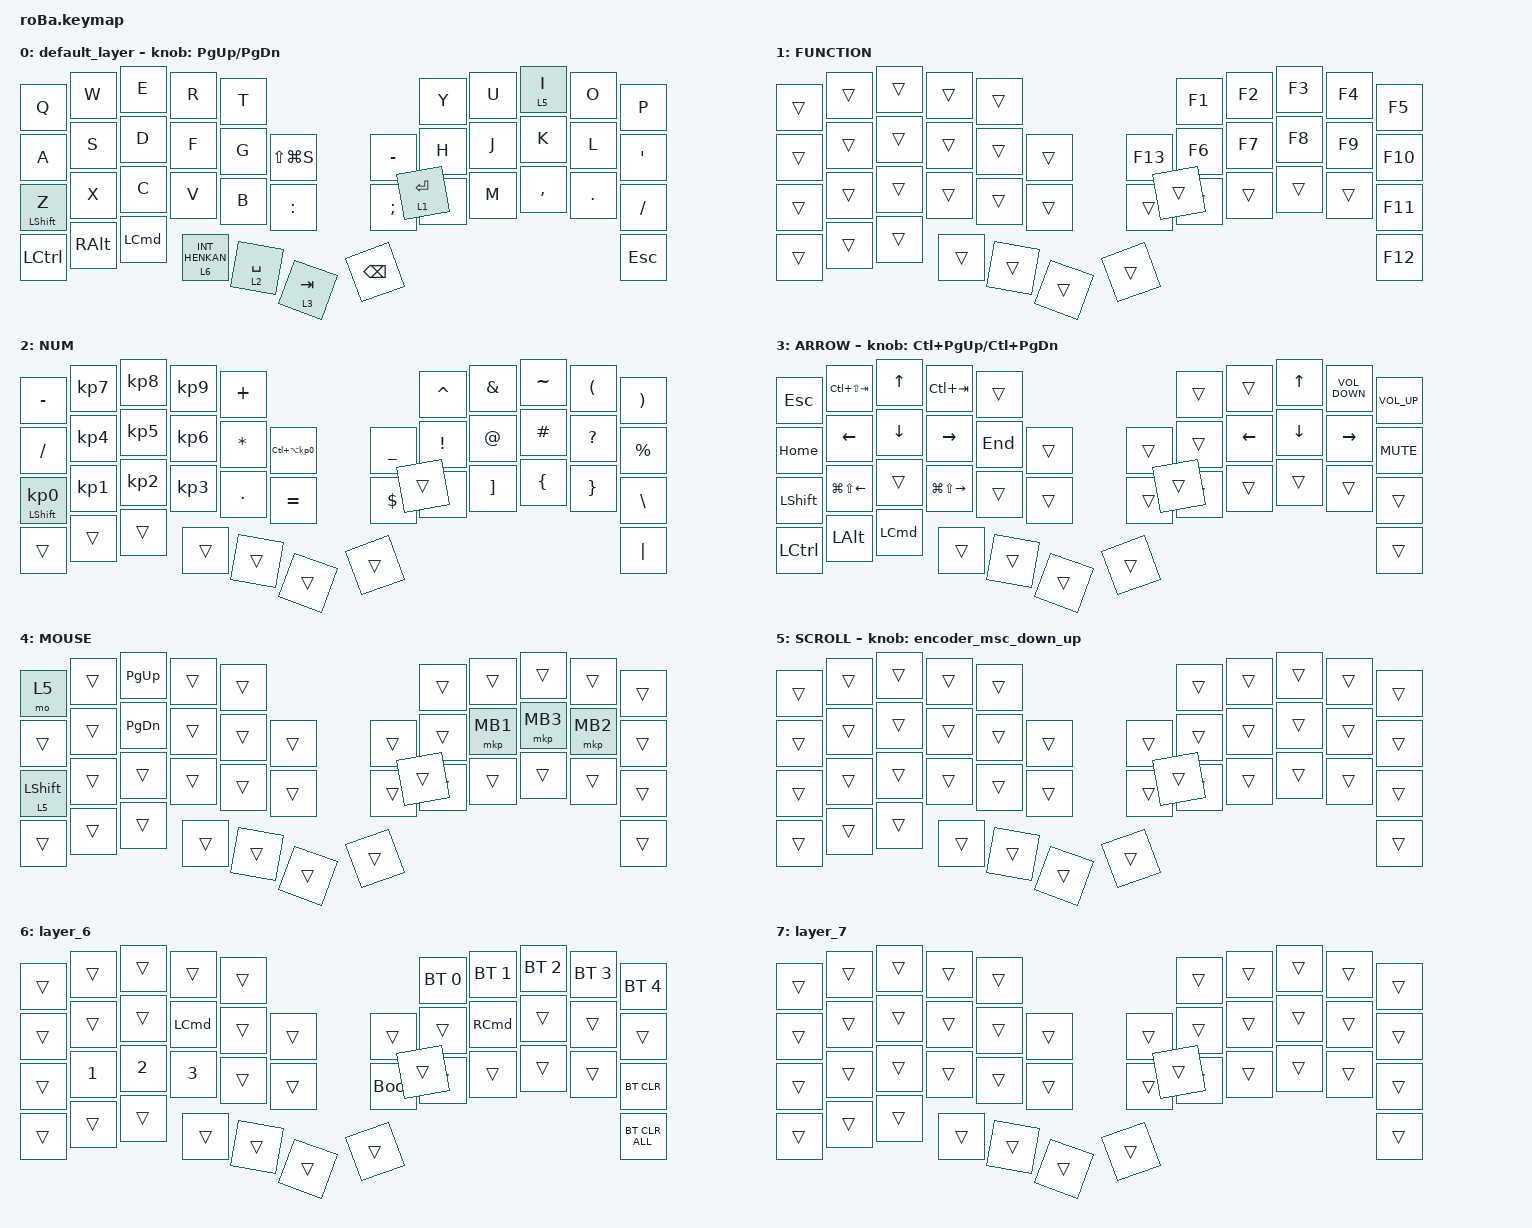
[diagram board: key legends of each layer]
#include <behaviors.dtsi>
#include <dt-bindings/zmk/bt.h>
#include <dt-bindings/zmk/keys.h>
#include <dt-bindings/zmk/pointing.h>

#define ZMK_POINTING_DEFAULT_SCRL_VAL 80

&mt {
    flavor = "balanced";
    quick-tap-ms = <0>;
};

&trackball {
    automouse-layer = <4>;
    scroll-layers = <5>;

    // arrows {
    //     layers = <3>;
    //     bindings =
    //         <&kp RIGHT_ARROW>,
    //         <&kp LEFT_ARROW>,
    //         <&kp UP_ARROW>,
    //         <&kp DOWN_ARROW>;
    //     tick = <10>;
    //     wait-ms = <5>;
    //     tap-ms = <5>;
    // };
};

/ {
    combos {
        compatible = "zmk,combos";

        tab {
            bindings = <&kp TAB>;
            key-positions = <11 12>;
        };

        shift_tab {
            bindings = <&kp LS(TAB)>;
            key-positions = <12 13>;
        };

        muhennkann {
            bindings = <&to_layer_0 INT_MUHENKAN>;
            key-positions = <11 10>;
        };

        double_quotation {
            bindings = <&kp DOUBLE_QUOTES>;
            key-positions = <20 21>;
        };

        eq {
            bindings = <&kp EQUAL>;
            key-positions = <24 25>;
        };

        at {
            bindings = <&kp AT>;
            key-positions = <22 1>;
        };
    };

    macros {
        to_layer_0: to_layer_0 {
            compatible = "zmk,behavior-macro-one-param";
            #binding-cells = <1>;
            bindings = <&to 0 &macro_param_1to1 &kp MACRO_PLACEHOLDER>;
            label = "TO_LAYER_0";
        };
    };

    behaviors {
        lt_to_layer_0: lt_to_layer_0 {
            compatible = "zmk,behavior-hold-tap";
            label = "LAYER_TAP_TO_0";
            bindings = <&mo>, <&to_layer_0>;

            #binding-cells = <2>;
            tapping-term-ms = <200>;
        };

        // ロータリーエンコーダでスクロールイベントを送出するためのビヘイビア

        encoder_msc_down_up: encoder_msc_down_up {
            compatible = "zmk,behavior-sensor-rotate";
            label = "ENCODER_MSC_DOWN_UP";
            #sensor-binding-cells = <0>;
            bindings = <&msc SCRL_DOWN>, <&msc SCRL_UP>;

            tap-ms = <20>;
        };
    };

    keymap {
        compatible = "zmk,keymap";

        default_layer {
            bindings = <
&kp Q             &kp W     &kp E             &kp R                        &kp T                                                 &kp Y        &kp U  &lt 5 I    &kp O    &kp P
&kp A             &kp S     &kp D             &kp F                        &kp G        &kp LS(LG(S))             &kp MINUS      &kp H        &kp J  &kp K      &kp L    &kp SQT
&mt LEFT_SHIFT Z  &kp X     &kp C             &kp V                        &kp B        &kp COLON                 &kp SEMICOLON  &kp N        &kp M  &kp COMMA  &kp DOT  &kp SLASH
&kp LCTRL         &kp RALT  &kp LEFT_COMMAND  &lt_to_layer_0 6 INT_HENKAN  &lt 2 SPACE  &lt_to_layer_0 3 TAB      &kp BACKSPACE  &lt 1 ENTER                             &kp ESCAPE
            >;

            sensor-bindings = <&inc_dec_kp PG_UP PAGE_DOWN>;
        };

        FUNCTION {
            bindings = <
&trans  &trans  &trans  &trans  &trans                       &kp F1  &kp F2  &kp F3  &kp F4  &kp F5
&trans  &trans  &trans  &trans  &trans  &trans      &kp F13  &kp F6  &kp F7  &kp F8  &kp F9  &kp F10
&trans  &trans  &trans  &trans  &trans  &trans      &trans   &trans  &trans  &trans  &trans  &kp F11
&trans  &trans  &trans  &trans  &trans  &trans      &trans   &trans                          &kp F12
            >;
        };

        NUM {
            bindings = <
&kp MINUS                   &kp KP_NUMBER_7  &kp KP_NUMBER_8  &kp KP_NUMBER_9  &kp PLUS                                                   &kp CARET         &kp AMPERSAND      &kp TILDE       &kp LEFT_PARENTHESIS  &kp RIGHT_PARENTHESIS
&kp SLASH                   &kp KP_NUMBER_4  &kp KP_NUMBER_5  &kp KP_NUMBER_6  &kp ASTERISK  &kp LC(LA(KP_NUMBER_0))      &kp UNDERSCORE  &kp EXCLAMATION   &kp AT_SIGN        &kp HASH        &kp QUESTION          &kp PERCENT
&mt LEFT_SHIFT KP_NUMBER_0  &kp KP_NUMBER_1  &kp KP_NUMBER_2  &kp KP_NUMBER_3  &kp PERIOD    &kp EQUAL                    &kp DOLLAR      &kp LEFT_BRACKET  &kp RIGHT_BRACKET  &kp LEFT_BRACE  &kp RIGHT_BRACE       &kp BACKSLASH
&trans                      &trans           &trans           &trans           &trans        &trans                       &trans          &trans                                                                     &kp PIPE
            >;
        };

        ARROW {
            bindings = <
&kp ESCAPE        &kp LC(LS(TAB))         &kp UP_ARROW      &kp LC(TAB)              &trans                       &trans  &trans          &kp UP_ARROW    &kp C_VOLUME_DOWN  &kp C_VOLUME_UP
&kp HOME          &kp LEFT_ARROW          &kp DOWN_ARROW    &kp RIGHT_ARROW          &kp END  &trans      &trans  &trans  &kp LEFT_ARROW  &kp DOWN_ARROW  &kp RIGHT_ARROW    &kp K_MUTE
&kp LEFT_SHIFT    &kp LG(LS(LEFT_ARROW))  &trans            &kp LG(LS(RIGHT_ARROW))  &trans   &trans      &trans  &trans  &trans          &trans          &trans             &trans
&kp LEFT_CONTROL  &kp LEFT_ALT            &kp LEFT_COMMAND  &trans                   &trans   &trans      &trans  &trans                                                     &trans
            >;

            sensor-bindings = <&inc_dec_kp LC(PAGE_UP) LC(PAGE_DOWN)>;
        };

        MOUSE {
            // 左シフト位置を押しながらトラックボール操作時にスクロールレイヤーへ切り替えるための割り当て

            bindings = <
&mo 5             &trans  &kp PAGE_UP    &trans  &trans                      &trans  &trans    &trans    &trans    &trans
&trans            &trans  &kp PAGE_DOWN  &trans  &trans  &trans      &trans  &trans  &mkp MB1  &mkp MB3  &mkp MB2  &trans
&lt 5 LEFT_SHIFT  &trans  &trans         &trans  &trans  &trans      &trans  &trans  &trans    &trans    &trans    &trans
&trans            &trans  &trans         &trans  &trans  &trans      &trans  &trans                                &trans
            >;
        };

        SCROLL {
            bindings = <
&trans  &trans  &trans  &trans  &trans                      &trans  &trans  &trans  &trans  &trans
&trans  &trans  &trans  &trans  &trans  &trans      &trans  &trans  &trans  &trans  &trans  &trans
&trans  &trans  &trans  &trans  &trans  &trans      &trans  &trans  &trans  &trans  &trans  &trans
&trans  &trans  &trans  &trans  &trans  &trans      &trans  &trans                          &trans
            >;

            // シフトで切り替えたスクロールレイヤーにエンコーダのスクロール挙動を割り当てる

            sensor-bindings = <&encoder_msc_down_up>;
        };

        layer_6 {
            bindings = <
&trans  &trans        &trans        &trans            &trans                           &bt BT_SEL 0  &bt BT_SEL 1       &bt BT_SEL 2  &bt BT_SEL 3  &bt BT_SEL 4
&trans  &trans        &trans        &kp LEFT_COMMAND  &trans  &trans      &trans       &trans        &kp RIGHT_COMMAND  &trans        &trans        &trans
&trans  &kp NUMBER_1  &kp NUMBER_2  &kp NUMBER_3      &trans  &trans      &bootloader  &trans        &trans             &trans        &trans        &bt BT_CLR
&trans  &trans        &trans        &trans            &trans  &trans      &trans       &trans                                                       &bt BT_CLR_ALL
            >;
        };

        layer_7 {
            bindings = <
&trans  &trans  &trans  &trans  &trans                      &trans  &trans  &trans  &trans  &trans
&trans  &trans  &trans  &trans  &trans  &trans      &trans  &trans  &trans  &trans  &trans  &trans
&trans  &trans  &trans  &trans  &trans  &trans      &trans  &trans  &trans  &trans  &trans  &trans
&trans  &trans  &trans  &trans  &trans  &trans      &trans  &trans                          &trans
            >;
        };
    };
};
